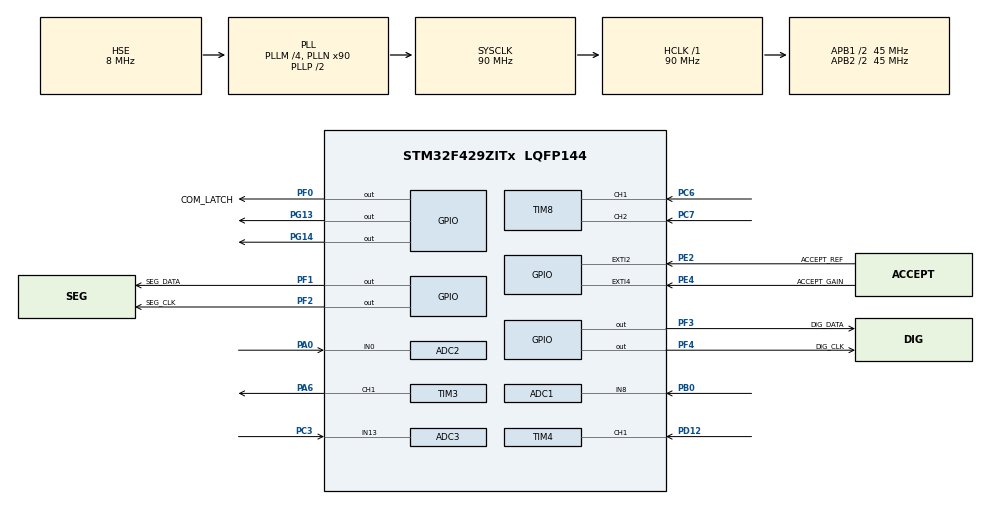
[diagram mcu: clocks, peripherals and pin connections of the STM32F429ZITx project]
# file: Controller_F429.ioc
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ADC1.Channel-3\#ChannelRegularConversion=ADC_CHANNEL_8
ADC1.ContinuousConvMode=DISABLE
ADC1.EOCSelection=ADC_EOC_SINGLE_CONV
ADC1.InjNumberOfConversion=0
ADC1.NbrOfConversion=1
ADC1.NbrOfConversionFlag=1
ADC1.Rank-3\#ChannelRegularConversion=1
ADC1.SamplingTime-3\#ChannelRegularConversion=ADC_SAMPLETIME_3CYCLES
ADC1.master=1
ADC2.Channel-3\#ChannelRegularConversion=ADC_CHANNEL_0
ADC2.NbrOfConversionFlag=1
ADC2.Rank-3\#ChannelRegularConversion=1
ADC2.SamplingTime-3\#ChannelRegularConversion=ADC_SAMPLETIME_3CYCLES
ADC3.Channel-0\#ChannelRegularConversion=ADC_CHANNEL_13
ADC3.NbrOfConversionFlag=1
ADC3.Rank-0\#ChannelRegularConversion=1
ADC3.SamplingTime-0\#ChannelRegularConversion=ADC_SAMPLETIME_3CYCLES
Mcu.Family=STM32F4
Mcu.Name=STM32F429ZITx
Mcu.Package=LQFP144
NVIC.ADC_IRQn=true\:0\:0\:false\:false\:true\:true\:true\:true
NVIC.EXTI2_IRQn=true\:0\:0\:false\:false\:true\:true\:true\:true
NVIC.EXTI4_IRQn=true\:0\:0\:false\:false\:true\:true\:true\:true
NVIC.PriorityGroup=NVIC_PRIORITYGROUP_4
NVIC.TIM1_BRK_TIM9_IRQn=true\:0\:0\:false\:false\:true\:true\:true\:true
NVIC.TIM1_CC_IRQn=true\:0\:0\:false\:false\:true\:true\:true\:true
NVIC.TIM1_TRG_COM_TIM11_IRQn=true\:0\:0\:false\:false\:true\:true\:true\:true
NVIC.TIM1_UP_TIM10_IRQn=true\:0\:0\:false\:false\:true\:true\:true\:true
NVIC.TIM4_IRQn=true\:0\:0\:false\:false\:true\:true\:true\:true
PA0/WKUP.Signal=ADCx_IN0
PA6.Signal=S_TIM3_CH1
PB0.Signal=ADCx_IN8
PC3.Signal=ADCx_IN13
PC6.Signal=S_TIM8_CH1
PC7.Signal=S_TIM8_CH2
PD12.Signal=S_TIM4_CH1
PE2.GPIO_Label=ACCEPT_REF
PE2.GPIO_ModeDefaultEXTI=GPIO_MODE_IT_FALLING
PE2.GPIO_PuPd=GPIO_PULLDOWN
PE2.Signal=GPXTI2
PE4.GPIO_Label=ACCEPT_GAIN
PE4.GPIO_ModeDefaultEXTI=GPIO_MODE_IT_FALLING
PE4.GPIO_PuPd=GPIO_PULLDOWN
PE4.Signal=GPXTI4
PF0.GPIO_Label=COM_LATCH
PF0.Signal=GPIO_Output
PF1.GPIO_Label=SEG_DATA
PF1.Signal=GPIO_Output
PF2.GPIO_Label=SEG_CLK
PF2.Signal=GPIO_Output
PF3.GPIO_Label=DIG_DATA
PF3.Signal=GPIO_Output
PF4.GPIO_Label=DIG_CLK
PF4.Signal=GPIO_Output
PG13.Signal=GPIO_Output
PG14.Signal=GPIO_Output
PH0/OSC_IN.Mode=HSE-External-Oscillator
PH0/OSC_IN.Signal=RCC_OSC_IN
PH1/OSC_OUT.Mode=HSE-External-Oscillator
PH1/OSC_OUT.Signal=RCC_OSC_OUT
ProjectManager.HeapSize=0x200
ProjectManager.StackSize=0x400
ProjectManager.TargetToolchain=STM32CubeIDE
RCC.48MHZClocksFreq_Value=60000000
RCC.AHBFreq_Value=90000000
RCC.APB1CLKDivider=RCC_HCLK_DIV2
RCC.APB1Freq_Value=45000000
RCC.APB1TimFreq_Value=90000000
RCC.APB2CLKDivider=RCC_HCLK_DIV2
RCC.APB2Freq_Value=45000000
RCC.APB2TimFreq_Value=90000000
RCC.CortexFreq_Value=90000000
RCC.HCLKFreq_Value=90000000
RCC.HSE_VALUE=8000000
RCC.HSI_VALUE=16000000
RCC.LSE_VALUE=32768
RCC.PLLM=4
RCC.PLLN=90
RCC.PLLQ=3
RCC.PLLSAIN=50
RCC.PLLSourceVirtual=RCC_PLLSOURCE_HSE
RCC.SYSCLKFreq_VALUE=90000000
RCC.SYSCLKSource=RCC_SYSCLKSOURCE_PLLCLK
RCC.VCOOutputFreq_Value=180000000
SH.ADCx_IN0.0=ADC2_IN0,IN0
SH.ADCx_IN13.0=ADC3_IN13,IN13
SH.ADCx_IN8.0=ADC1_IN8,IN8
SH.S_TIM3_CH1.0=TIM3_CH1,PWM Generation1 CH1
SH.S_TIM4_CH1.0=TIM4_CH1,PWM_Input_1
SH.S_TIM8_CH1.0=TIM8_CH1,Encoder_Interface
SH.S_TIM8_CH2.0=TIM8_CH2,Encoder_Interface
TIM1.AutoReloadPreload=TIM_AUTORELOAD_PRELOAD_ENABLE
TIM1.Period=199
TIM1.Prescaler=8999
TIM3.AutoReloadPreload=TIM_AUTORELOAD_PRELOAD_ENABLE
TIM3.Channel-PWM\ Generation1\ CH1=TIM_CHANNEL_1
TIM3.Period=10000
TIM3.Prescaler=8
TIM4.AutoReloadPreload=TIM_AUTORELOAD_PRELOAD_ENABLE
TIM4.Prescaler=10
TIM8.EncoderMode=TIM_ENCODERMODE_TI12
TIM8.IC1Filter=1
TIM8.IC2Filter=1
VP_TIM1_VS_ClockSourceINT.Mode=Internal
VP_TIM4_VS_ClockSourceINT.Mode=Internal
board=STM32F429I-DISC1

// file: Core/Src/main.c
/* USER CODE BEGIN Header */
/**
  ******************************************************************************
  * @file           : main.c
  * @brief          : Main program body
  ******************************************************************************
  * @attention
  *
  * Copyright (c) 2024 STMicroelectronics.
  * All rights reserved.
  *
  * This software is licensed under terms that can be found in the LICENSE file
  * in the root directory of this software component.
  * If no LICENSE file comes with this software, it is provided AS-IS.
  *
  ******************************************************************************
  */
/* USER CODE END Header */
#include "main.h"

/* USER CODE BEGIN Includes */
#include "controller.h"
#include "shiftregdrv.h"
/* USER CODE END Includes */

/* USER CODE BEGIN PD */
#define ENCODER_CNT_MIDDLE (1 << 15)
/* USER CODE END PD */

ADC_HandleTypeDef hadc1;
ADC_HandleTypeDef hadc2;
ADC_HandleTypeDef hadc3;

TIM_HandleTypeDef htim1;
TIM_HandleTypeDef htim3;
TIM_HandleTypeDef htim4;
TIM_HandleTypeDef htim8;

/* USER CODE BEGIN PV */
uint16_t AD_RES_1 = 0;
uint16_t AD_RES_2 = 0;
uint16_t AD_RES_3 = 0;
int32_t encoder_speed = 0;
uint32_t clock_freq = 90*10^6;
uint32_t ICValue = 0;
float pwm_input_duty = 0.0;

float motor_current_Y = 0.0;
float motor_position_Y = 0.0;
float motor_speed_Y = 0.0;
float mass_position_Y = 0.0;
float mass_speed_Y = 0.0;

float voltage_U = 0.0;

float voltage_max = 24.0;
float voltage_min = -24.0;
float current_max = 50.0;
float current_min = -50.0;
float pos_max = 5.0;
float pos_min = 0.0;

float r_shaft = 0.1;
float enc_multiplier = 0.01570796;

float v_out_slope;
float v_out_offset;
float h_in_slope;
float h_in_offset;
float i_in_slope;
float i_in_offset;
float i_in_correction;

const float gain_max_from_adc_max = 20.0;
const float gain_min_from_adc_min = 0.0;
float gain_from_adc = 7.5;
const float ref_max_from_adc_max = 5.0;
const float ref_min_from_adc_min = 0.0;
float ref_from_adc = 0.0;

extern uint8_t display1[4];
extern uint8_t display2[4];
uint8_t digit_counter = 0;
/* USER CODE END PV */

void SystemClock_Config(void);
static void MX_GPIO_Init(void);
static void MX_TIM1_Init(void);
static void MX_ADC2_Init(void);
static void MX_TIM3_Init(void);
static void MX_TIM4_Init(void);
static void MX_TIM8_Init(void);
static void MX_ADC1_Init(void);
static void MX_ADC3_Init(void);

int main(void)
{

  /* MCU Configuration--------------------------------------------------------*/

  /* Reset of all peripherals, Initializes the Flash interface and the Systick. */
  HAL_Init();

  /* Configure the system clock */
  SystemClock_Config();

  /* Initialize all configured peripherals */
  MX_GPIO_Init();
  MX_TIM1_Init();
  MX_ADC2_Init();
  MX_TIM3_Init();
  MX_TIM4_Init();
  MX_TIM8_Init();
  MX_ADC1_Init();
  MX_ADC3_Init();
  /* USER CODE BEGIN 2 */

  v_out_slope = ((float)(TIM3->ARR)*0.4/voltage_max);
  v_out_offset = (float)(TIM3->ARR)*0.5;

  h_in_slope = pos_max/(0.8);
  h_in_offset = -(pos_max/(0.8))*0.1;

  i_in_slope = 2.0*current_max/4095.0;
  i_in_offset = current_min;
  i_in_correction = -6.5;

  HAL_TIM_Base_Start_IT(&htim1);

  HAL_TIM_Encoder_Start(&htim8, TIM_CHANNEL_ALL);
  TIM8->CNT = ENCODER_CNT_MIDDLE;

  HAL_TIM_PWM_Start(&htim3, TIM_CHANNEL_1);

  HAL_TIM_IC_Start_IT(&htim4, TIM_CHANNEL_1);   // Duty measurement - main channel
  HAL_TIM_IC_Start(&htim4, TIM_CHANNEL_2); // Duty measurement - indirect channel

  controller_initialize();
  controller_U.Ki = gain_from_adc;
  controller_U.Ug_max_c = voltage_max;
  controller_U.h_ref = ref_from_adc;

  /* USER CODE END 2 */

  /* Infinite loop */
  while (1)
  {

    /* USER CODE BEGIN 3 */

	latch_out();

	update_display1(ref_from_adc);
	update_display2(gain_from_adc);
	switch_digit(digit_counter);
	switch(digit_counter){
		case 0:{
			print_digit(display1[0], 0);
			break;
		}
		case 1:{
			print_digit(display1[1], 1);
			break;
		}
		case 2:{
			print_digit(display1[2], 0);
			break;
		}
		case 3:{
			print_digit(display1[3], 0);
			break;
		}
		case 4:{
			print_digit(display2[0], 0);
			break;
		}
		case 5:{
			print_digit(display2[1], 1);
			break;
		}
		case 6:{
			print_digit(display2[2], 0);
			break;
		}
		case 7:{
			print_digit(display2[3], 0);
			break;
		}
	}
	if(digit_counter < 7){digit_counter++;}
	else{digit_counter = 0;}
	HAL_Delay(2);

  }
  /* USER CODE END 3 */
}

void SystemClock_Config(void)
{
  RCC_OscInitTypeDef RCC_OscInitStruct = {0};
  RCC_ClkInitTypeDef RCC_ClkInitStruct = {0};

  /** Configure the main internal regulator output voltage
  */
  __HAL_RCC_PWR_CLK_ENABLE();
  __HAL_PWR_VOLTAGESCALING_CONFIG(PWR_REGULATOR_VOLTAGE_SCALE3);

  /** Initializes the RCC Oscillators according to the specified parameters
  * in the RCC_OscInitTypeDef structure.
  */
  RCC_OscInitStruct.OscillatorType = RCC_OSCILLATORTYPE_HSE;
  RCC_OscInitStruct.HSEState = RCC_HSE_ON;
  RCC_OscInitStruct.PLL.PLLState = RCC_PLL_ON;
  RCC_OscInitStruct.PLL.PLLSource = RCC_PLLSOURCE_HSE;
  RCC_OscInitStruct.PLL.PLLM = 4;
  RCC_OscInitStruct.PLL.PLLN = 90;
  RCC_OscInitStruct.PLL.PLLP = RCC_PLLP_DIV2;
  RCC_OscInitStruct.PLL.PLLQ = 3;
  if (HAL_RCC_OscConfig(&RCC_OscInitStruct) != HAL_OK)
  {
    Error_Handler();
  }

  /** Activate the Over-Drive mode
  */
  if (HAL_PWREx_EnableOverDrive() != HAL_OK)
  {
    Error_Handler();
  }

  /** Initializes the CPU, AHB and APB buses clocks
  */
  RCC_ClkInitStruct.ClockType = RCC_CLOCKTYPE_HCLK|RCC_CLOCKTYPE_SYSCLK
                              |RCC_CLOCKTYPE_PCLK1|RCC_CLOCKTYPE_PCLK2;
  RCC_ClkInitStruct.SYSCLKSource = RCC_SYSCLKSOURCE_PLLCLK;
  RCC_ClkInitStruct.AHBCLKDivider = RCC_SYSCLK_DIV1;
  RCC_ClkInitStruct.APB1CLKDivider = RCC_HCLK_DIV2;
  RCC_ClkInitStruct.APB2CLKDivider = RCC_HCLK_DIV2;

  if (HAL_RCC_ClockConfig(&RCC_ClkInitStruct, FLASH_LATENCY_2) != HAL_OK)
  {
    Error_Handler();
  }
}

static void MX_ADC1_Init(void)
{

  ADC_ChannelConfTypeDef sConfig = {0};

  /** Configure the global features of the ADC (Clock, Resolution, Data Alignment and number of conversion)
  */
  hadc1.Instance = ADC1;
  hadc1.Init.ClockPrescaler = ADC_CLOCK_SYNC_PCLK_DIV2;
  hadc1.Init.Resolution = ADC_RESOLUTION_12B;
  hadc1.Init.ScanConvMode = DISABLE;
  hadc1.Init.ContinuousConvMode = DISABLE;
  hadc1.Init.DiscontinuousConvMode = DISABLE;
  hadc1.Init.ExternalTrigConvEdge = ADC_EXTERNALTRIGCONVEDGE_NONE;
  hadc1.Init.ExternalTrigConv = ADC_SOFTWARE_START;
  hadc1.Init.DataAlign = ADC_DATAALIGN_RIGHT;
  hadc1.Init.NbrOfConversion = 1;
  hadc1.Init.DMAContinuousRequests = DISABLE;
  hadc1.Init.EOCSelection = ADC_EOC_SINGLE_CONV;
  if (HAL_ADC_Init(&hadc1) != HAL_OK)
  {
    Error_Handler();
  }

  /** Configure for the selected ADC regular channel its corresponding rank in the sequencer and its sample time.
  */
  sConfig.Channel = ADC_CHANNEL_8;
  sConfig.Rank = 1;
  sConfig.SamplingTime = ADC_SAMPLETIME_3CYCLES;
  if (HAL_ADC_ConfigChannel(&hadc1, &sConfig) != HAL_OK)
  {
    Error_Handler();
  }

}

static void MX_ADC2_Init(void)
{

  ADC_ChannelConfTypeDef sConfig = {0};

  /** Configure the global features of the ADC (Clock, Resolution, Data Alignment and number of conversion)
  */
  hadc2.Instance = ADC2;
  hadc2.Init.ClockPrescaler = ADC_CLOCK_SYNC_PCLK_DIV2;
  hadc2.Init.Resolution = ADC_RESOLUTION_12B;
  hadc2.Init.ScanConvMode = DISABLE;
  hadc2.Init.ContinuousConvMode = DISABLE;
  hadc2.Init.DiscontinuousConvMode = DISABLE;
  hadc2.Init.ExternalTrigConvEdge = ADC_EXTERNALTRIGCONVEDGE_NONE;
  hadc2.Init.ExternalTrigConv = ADC_SOFTWARE_START;
  hadc2.Init.DataAlign = ADC_DATAALIGN_RIGHT;
  hadc2.Init.NbrOfConversion = 1;
  hadc2.Init.DMAContinuousRequests = DISABLE;
  hadc2.Init.EOCSelection = ADC_EOC_SINGLE_CONV;
  if (HAL_ADC_Init(&hadc2) != HAL_OK)
  {
    Error_Handler();
  }

  /** Configure for the selected ADC regular channel its corresponding rank in the sequencer and its sample time.
  */
  sConfig.Channel = ADC_CHANNEL_0;
  sConfig.Rank = 1;
  sConfig.SamplingTime = ADC_SAMPLETIME_3CYCLES;
  if (HAL_ADC_ConfigChannel(&hadc2, &sConfig) != HAL_OK)
  {
    Error_Handler();
  }

}

static void MX_ADC3_Init(void)
{

  ADC_ChannelConfTypeDef sConfig = {0};

  /** Configure the global features of the ADC (Clock, Resolution, Data Alignment and number of conversion)
  */
  hadc3.Instance = ADC3;
  hadc3.Init.ClockPrescaler = ADC_CLOCK_SYNC_PCLK_DIV2;
  hadc3.Init.Resolution = ADC_RESOLUTION_12B;
  hadc3.Init.ScanConvMode = DISABLE;
  hadc3.Init.ContinuousConvMode = DISABLE;
  hadc3.Init.DiscontinuousConvMode = DISABLE;
  hadc3.Init.ExternalTrigConvEdge = ADC_EXTERNALTRIGCONVEDGE_NONE;
  hadc3.Init.ExternalTrigConv = ADC_SOFTWARE_START;
  hadc3.Init.DataAlign = ADC_DATAALIGN_RIGHT;
  hadc3.Init.NbrOfConversion = 1;
  hadc3.Init.DMAContinuousRequests = DISABLE;
  hadc3.Init.EOCSelection = ADC_EOC_SINGLE_CONV;
  if (HAL_ADC_Init(&hadc3) != HAL_OK)
  {
    Error_Handler();
  }

  /** Configure for the selected ADC regular channel its corresponding rank in the sequencer and its sample time.
  */
  sConfig.Channel = ADC_CHANNEL_13;
  sConfig.Rank = 1;
  sConfig.SamplingTime = ADC_SAMPLETIME_3CYCLES;
  if (HAL_ADC_ConfigChannel(&hadc3, &sConfig) != HAL_OK)
  {
    Error_Handler();
  }

}

static void MX_TIM1_Init(void)
{

  TIM_ClockConfigTypeDef sClockSourceConfig = {0};
  TIM_MasterConfigTypeDef sMasterConfig = {0};

  htim1.Instance = TIM1;
  htim1.Init.Prescaler = 8999;
  htim1.Init.CounterMode = TIM_COUNTERMODE_UP;
  htim1.Init.Period = 199;
  htim1.Init.ClockDivision = TIM_CLOCKDIVISION_DIV1;
  htim1.Init.RepetitionCounter = 0;
  htim1.Init.AutoReloadPreload = TIM_AUTORELOAD_PRELOAD_ENABLE;
  if (HAL_TIM_Base_Init(&htim1) != HAL_OK)
  {
    Error_Handler();
  }
  sClockSourceConfig.ClockSource = TIM_CLOCKSOURCE_INTERNAL;
  if (HAL_TIM_ConfigClockSource(&htim1, &sClockSourceConfig) != HAL_OK)
  {
    Error_Handler();
  }
  sMasterConfig.MasterOutputTrigger = TIM_TRGO_RESET;
  sMasterConfig.MasterSlaveMode = TIM_MASTERSLAVEMODE_DISABLE;
  if (HAL_TIMEx_MasterConfigSynchronization(&htim1, &sMasterConfig) != HAL_OK)
  {
    Error_Handler();
  }

}

static void MX_TIM3_Init(void)
{

  TIM_MasterConfigTypeDef sMasterConfig = {0};
  TIM_OC_InitTypeDef sConfigOC = {0};

  htim3.Instance = TIM3;
  htim3.Init.Prescaler = 8;
  htim3.Init.CounterMode = TIM_COUNTERMODE_UP;
  htim3.Init.Period = 10000;
  htim3.Init.ClockDivision = TIM_CLOCKDIVISION_DIV1;
  htim3.Init.AutoReloadPreload = TIM_AUTORELOAD_PRELOAD_ENABLE;
  if (HAL_TIM_PWM_Init(&htim3) != HAL_OK)
  {
    Error_Handler();
  }
  sMasterConfig.MasterOutputTrigger = TIM_TRGO_RESET;
  sMasterConfig.MasterSlaveMode = TIM_MASTERSLAVEMODE_DISABLE;
  if (HAL_TIMEx_MasterConfigSynchronization(&htim3, &sMasterConfig) != HAL_OK)
  {
    Error_Handler();
  }
  sConfigOC.OCMode = TIM_OCMODE_PWM1;
  sConfigOC.Pulse = 0;
  sConfigOC.OCPolarity = TIM_OCPOLARITY_HIGH;
  sConfigOC.OCFastMode = TIM_OCFAST_DISABLE;
  if (HAL_TIM_PWM_ConfigChannel(&htim3, &sConfigOC, TIM_CHANNEL_1) != HAL_OK)
  {
    Error_Handler();
  }
  HAL_TIM_MspPostInit(&htim3);

}

static void MX_TIM4_Init(void)
{

  TIM_ClockConfigTypeDef sClockSourceConfig = {0};
  TIM_SlaveConfigTypeDef sSlaveConfig = {0};
  TIM_IC_InitTypeDef sConfigIC = {0};
  TIM_MasterConfigTypeDef sMasterConfig = {0};

  htim4.Instance = TIM4;
  htim4.Init.Prescaler = 10;
  htim4.Init.CounterMode = TIM_COUNTERMODE_UP;
  htim4.Init.Period = 65535;
  htim4.Init.ClockDivision = TIM_CLOCKDIVISION_DIV1;
  htim4.Init.AutoReloadPreload = TIM_AUTORELOAD_PRELOAD_ENABLE;
  if (HAL_TIM_Base_Init(&htim4) != HAL_OK)
  {
    Error_Handler();
  }
  sClockSourceConfig.ClockSource = TIM_CLOCKSOURCE_INTERNAL;
  if (HAL_TIM_ConfigClockSource(&htim4, &sClockSourceConfig) != HAL_OK)
  {
    Error_Handler();
  }
  if (HAL_TIM_IC_Init(&htim4) != HAL_OK)
  {
    Error_Handler();
  }
  sSlaveConfig.SlaveMode = TIM_SLAVEMODE_RESET;
  sSlaveConfig.InputTrigger = TIM_TS_TI1FP1;
  sSlaveConfig.TriggerPolarity = TIM_INPUTCHANNELPOLARITY_RISING;
  sSlaveConfig.TriggerPrescaler = TIM_ICPSC_DIV1;
  sSlaveConfig.TriggerFilter = 0;
  if (HAL_TIM_SlaveConfigSynchro(&htim4, &sSlaveConfig) != HAL_OK)
  {
    Error_Handler();
  }
  sConfigIC.ICPolarity = TIM_INPUTCHANNELPOLARITY_RISING;
  sConfigIC.ICSelection = TIM_ICSELECTION_DIRECTTI;
  sConfigIC.ICPrescaler = TIM_ICPSC_DIV1;
  sConfigIC.ICFilter = 0;
  if (HAL_TIM_IC_ConfigChannel(&htim4, &sConfigIC, TIM_CHANNEL_1) != HAL_OK)
  {
    Error_Handler();
  }
  sConfigIC.ICPolarity = TIM_INPUTCHANNELPOLARITY_FALLING;
  sConfigIC.ICSelection = TIM_ICSELECTION_INDIRECTTI;
  if (HAL_TIM_IC_ConfigChannel(&htim4, &sConfigIC, TIM_CHANNEL_2) != HAL_OK)
  {
    Error_Handler();
  }
  sMasterConfig.MasterOutputTrigger = TIM_TRGO_RESET;
  sMasterConfig.MasterSlaveMode = TIM_MASTERSLAVEMODE_DISABLE;
  if (HAL_TIMEx_MasterConfigSynchronization(&htim4, &sMasterConfig) != HAL_OK)
  {
    Error_Handler();
  }

}

static void MX_TIM8_Init(void)
{

  TIM_Encoder_InitTypeDef sConfig = {0};
  TIM_MasterConfigTypeDef sMasterConfig = {0};

  htim8.Instance = TIM8;
  htim8.Init.Prescaler = 0;
  htim8.Init.CounterMode = TIM_COUNTERMODE_UP;
  htim8.Init.Period = 65535;
  htim8.Init.ClockDivision = TIM_CLOCKDIVISION_DIV1;
  htim8.Init.RepetitionCounter = 0;
  htim8.Init.AutoReloadPreload = TIM_AUTORELOAD_PRELOAD_DISABLE;
  sConfig.EncoderMode = TIM_ENCODERMODE_TI12;
  sConfig.IC1Polarity = TIM_ICPOLARITY_RISING;
  sConfig.IC1Selection = TIM_ICSELECTION_DIRECTTI;
  sConfig.IC1Prescaler = TIM_ICPSC_DIV1;
  sConfig.IC1Filter = 1;
  sConfig.IC2Polarity = TIM_ICPOLARITY_RISING;
  sConfig.IC2Selection = TIM_ICSELECTION_DIRECTTI;
  sConfig.IC2Prescaler = TIM_ICPSC_DIV1;
  sConfig.IC2Filter = 1;
  if (HAL_TIM_Encoder_Init(&htim8, &sConfig) != HAL_OK)
  {
    Error_Handler();
  }
  sMasterConfig.MasterOutputTrigger = TIM_TRGO_RESET;
  sMasterConfig.MasterSlaveMode = TIM_MASTERSLAVEMODE_DISABLE;
  if (HAL_TIMEx_MasterConfigSynchronization(&htim8, &sMasterConfig) != HAL_OK)
  {
    Error_Handler();
  }

}

static void MX_GPIO_Init(void)
{
  GPIO_InitTypeDef GPIO_InitStruct = {0};

  /* GPIO Ports Clock Enable */
  __HAL_RCC_GPIOE_CLK_ENABLE();
  __HAL_RCC_GPIOF_CLK_ENABLE();
  __HAL_RCC_GPIOH_CLK_ENABLE();
  __HAL_RCC_GPIOC_CLK_ENABLE();
  __HAL_RCC_GPIOA_CLK_ENABLE();
  __HAL_RCC_GPIOB_CLK_ENABLE();
  __HAL_RCC_GPIOD_CLK_ENABLE();
  __HAL_RCC_GPIOG_CLK_ENABLE();

  /*Configure GPIO pin Output Level */
  HAL_GPIO_WritePin(GPIOF, COM_LATCH_Pin|SEG_DATA_Pin|SEG_CLK_Pin|DIG_DATA_Pin
                          |DIG_CLK_Pin, GPIO_PIN_RESET);

  /*Configure GPIO pin Output Level */
  HAL_GPIO_WritePin(GPIOG, GPIO_PIN_13|GPIO_PIN_14, GPIO_PIN_RESET);

  /*Configure GPIO pins : ACCEPT_REF_Pin ACCEPT_GAIN_Pin */
  GPIO_InitStruct.Pin = ACCEPT_REF_Pin|ACCEPT_GAIN_Pin;
  GPIO_InitStruct.Mode = GPIO_MODE_IT_FALLING;
  GPIO_InitStruct.Pull = GPIO_PULLDOWN;
  HAL_GPIO_Init(GPIOE, &GPIO_InitStruct);

  /*Configure GPIO pins : COM_LATCH_Pin SEG_DATA_Pin SEG_CLK_Pin DIG_DATA_Pin
                           DIG_CLK_Pin */
  GPIO_InitStruct.Pin = COM_LATCH_Pin|SEG_DATA_Pin|SEG_CLK_Pin|DIG_DATA_Pin
                          |DIG_CLK_Pin;
  GPIO_InitStruct.Mode = GPIO_MODE_OUTPUT_PP;
  GPIO_InitStruct.Pull = GPIO_NOPULL;
  GPIO_InitStruct.Speed = GPIO_SPEED_FREQ_LOW;
  HAL_GPIO_Init(GPIOF, &GPIO_InitStruct);

  /*Configure GPIO pins : PG13 PG14 */
  GPIO_InitStruct.Pin = GPIO_PIN_13|GPIO_PIN_14;
  GPIO_InitStruct.Mode = GPIO_MODE_OUTPUT_PP;
  GPIO_InitStruct.Pull = GPIO_NOPULL;
  GPIO_InitStruct.Speed = GPIO_SPEED_FREQ_LOW;
  HAL_GPIO_Init(GPIOG, &GPIO_InitStruct);

  /* EXTI interrupt init*/
  HAL_NVIC_SetPriority(EXTI2_IRQn, 0, 0);
  HAL_NVIC_EnableIRQ(EXTI2_IRQn);

  HAL_NVIC_SetPriority(EXTI4_IRQn, 0, 0);
  HAL_NVIC_EnableIRQ(EXTI4_IRQn);

}

/* USER CODE BEGIN 4 */

void HAL_ADC_ConvCpltCallback(ADC_HandleTypeDef* hadc)
{
	if(hadc == &hadc1){
		AD_RES_1 = HAL_ADC_GetValue(&hadc1);
		motor_current_Y = i_in_offset + i_in_slope*AD_RES_1 + i_in_correction;
	}
	if(hadc == &hadc2){
		AD_RES_2 = HAL_ADC_GetValue(&hadc2);
		ref_from_adc = ((ref_max_from_adc_max - ref_min_from_adc_min)/4095.0)*(float)AD_RES_2 + ref_min_from_adc_min;
	}
	if(hadc == &hadc3){
		AD_RES_3 = HAL_ADC_GetValue(&hadc3);
		gain_from_adc = ((gain_max_from_adc_max - gain_min_from_adc_min)/4095.0)*(float)AD_RES_3 + gain_min_from_adc_min;
	}
}

void HAL_TIM_PeriodElapsedCallback(TIM_HandleTypeDef* htim)
{
	if(htim == &htim1){
		int32_t increment = TIM8->CNT - ENCODER_CNT_MIDDLE;
		TIM8->CNT = ENCODER_CNT_MIDDLE;
		encoder_speed = increment;

		motor_speed_Y = encoder_speed*enc_multiplier;
		mass_speed_Y = motor_speed_Y*r_shaft;

		HAL_ADC_Start_IT(&hadc1);
		HAL_ADC_Start_IT(&hadc2);
		HAL_ADC_Start_IT(&hadc3);

		controller_U.mot_amp = motor_current_Y;
		controller_U.shft_pos = motor_position_Y;
		controller_U.shft_vel = motor_speed_Y;
		controller_U.m_pos = mass_position_Y;
		controller_U.m_vel = mass_speed_Y;

		controller_step();

		voltage_U = controller_Y.Ug_U;

		TIM3->CCR1 = (int)(v_out_offset + v_out_slope*voltage_U);

		HAL_GPIO_TogglePin(GPIOG, GPIO_PIN_14);
	}
}

void HAL_TIM_IC_CaptureCallback(TIM_HandleTypeDef *htim){
	if(htim == &htim4){
		if (htim->Channel == HAL_TIM_ACTIVE_CHANNEL_1)  // If the interrupt is triggered by channel 1
		{
			ICValue = HAL_TIM_ReadCapturedValue(htim, TIM_CHANNEL_1);

			pwm_input_duty = (float)(((float)HAL_TIM_ReadCapturedValue(htim, TIM_CHANNEL_2))/(float)ICValue);

			mass_position_Y = h_in_offset + h_in_slope*pwm_input_duty;

			if(mass_position_Y > pos_max){mass_position_Y = pos_max;}
			if(mass_position_Y < pos_min){mass_position_Y = pos_min;}

			motor_position_Y = mass_position_Y/r_shaft;

		}
	}
	HAL_GPIO_TogglePin(GPIOG, GPIO_PIN_13);
}

void HAL_GPIO_EXTI_Callback(uint16_t GPIO_Pin)
{
	HAL_GPIO_TogglePin(GPIOG, GPIO_PIN_13);
  if(GPIO_Pin == ACCEPT_REF_Pin)
  {
	  controller_U.h_ref = ref_from_adc;
  }
  if(GPIO_Pin == ACCEPT_GAIN_Pin)
  {
	  controller_U.Ki = gain_from_adc;
  }
}
/* USER CODE END 4 */

void Error_Handler(void)
{
  __disable_irq();
  while (1)
  {
  }
}
